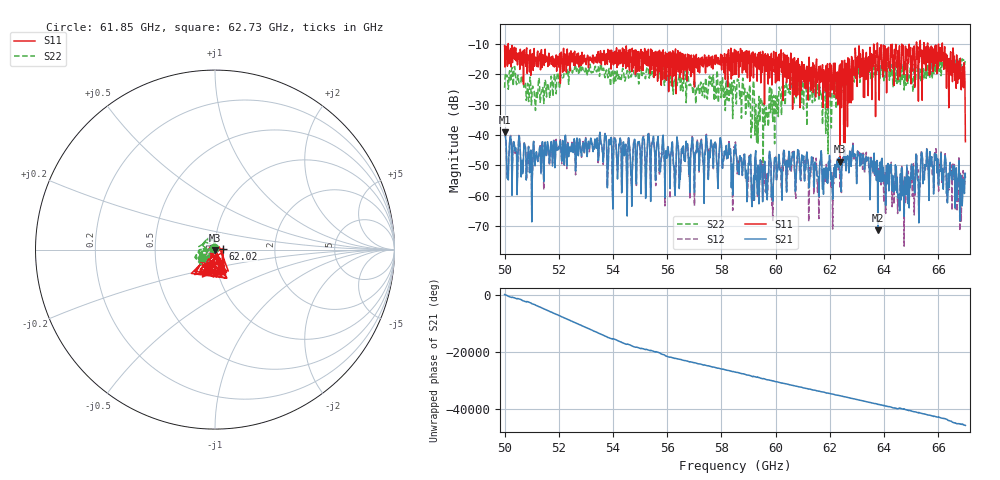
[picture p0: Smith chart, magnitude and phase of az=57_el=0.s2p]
!Created with skrf (http://scikit-rf.org).
# GHz S RI R 50.0
!freq ReS11 ImS11 ReS21 ImS21 ReS12 ImS12 ReS22 ImS22
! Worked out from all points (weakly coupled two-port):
!   1001 points, 50 GHz to 67 GHz, reference 50 ohm
!   highest |S21| = -39.11 dB at 50 GHz (marker M1); lowest = -71.3 dB at 63.77 GHz (marker M2)
!   lowest |S11| = -48.8 dB at 62.38 GHz (marker M3), VSWR 1.01, Z = 50.2 - j0.301 ohm
!   |S11| at or under -10 dB: 50.14 GHz to 63.75 GHz (13.62 GHz wide, 23.9 % of centre); 63.75 GHz to 65.2 GHz (1.441 GHz wide, 2.23 % of centre); 66.15 GHz to end of sweep (the widest 3 of 8)
!   |S22| runs from -50.9 to -14.2 dB; largest |S21 - S12| = 0.0022
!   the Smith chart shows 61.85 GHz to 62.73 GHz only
!   S11 on the Smith chart (normalised r, x): 61.85 GHz: 0.91, -0.17; 62.02 GHz: 1.09, +0.01; 62.73 GHz: 1.04, -0.26
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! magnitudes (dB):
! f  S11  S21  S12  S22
! 50 GHz  -10.5  -39.1  -39.1  -24.4
! 50.1 GHz  -17.3  -54.3  -53.2  -20.5
! 50.95 GHz  -11.9  -47.2  -46.9  -21.7
! 52.84 GHz  -14.8  -46.8  -47.3  -19.2
! 54.61 GHz  -18.6  -43.9  -43.4  -18.9
! 55.68 GHz  -14.0  -43.6  -43.3  -21.8
! 58.5 GHz  -20.1  -43.8  -43.7  -24.3
! 59.61 GHz  -13.5  -48.7  -51.3  -36.7
! 60.57 GHz  -16.3  -49.7  -52.1  -21.1
! 61.34 GHz  -24.4  -47.4  -48.3  -26.2
! 61.85 GHz  -19.9  -50.5  -51.2  -39.5
! 62.02 GHz  -27.4  -50.8  -48.2  -28.1
! 62.38 GHz  -48.8  -52.5  -57.5  -18.5
! 62.73 GHz  -18.0  -45.2  -46.3  -21.3
! 63.01 GHz  -24.0  -49.3  -47.2  -20.8
! 63.77 GHz  -13.7  -71.3  -58.5  -16.7
! 64.18 GHz  -17.9  -58.4  -56.2  -18.4
! 64.55 GHz  -13.2  -59.4  -59.6  -19.3
! 65.66 GHz  -11.6  -61.5  -57.9  -16.5
! 66.08 GHz  -15.7  -49.7  -47.6  -15.8
! 66.9 GHz  -17.5  -60.5  -52.8  -15.1
! 67 GHz  -42.1  -53.8  -52.2  -15.5
